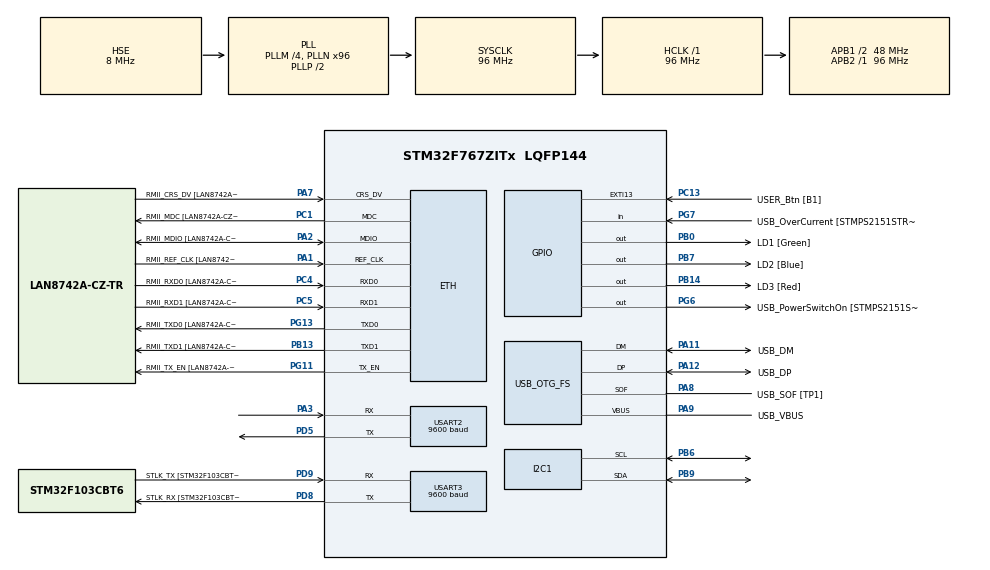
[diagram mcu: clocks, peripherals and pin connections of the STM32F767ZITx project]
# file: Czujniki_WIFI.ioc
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Dma.Request0=USART2_TX
Dma.USART2_TX.0.Direction=DMA_MEMORY_TO_PERIPH
Dma.USART2_TX.0.FIFOMode=DMA_FIFOMODE_DISABLE
Dma.USART2_TX.0.Instance=DMA1_Stream6
Dma.USART2_TX.0.MemDataAlignment=DMA_MDATAALIGN_BYTE
Dma.USART2_TX.0.MemInc=DMA_MINC_ENABLE
Dma.USART2_TX.0.Mode=DMA_NORMAL
Dma.USART2_TX.0.PeriphDataAlignment=DMA_PDATAALIGN_BYTE
Dma.USART2_TX.0.PeriphInc=DMA_PINC_DISABLE
Dma.USART2_TX.0.Priority=DMA_PRIORITY_LOW
ETH.MediaInterface=HAL_ETH_RMII_MODE
ETH.PHY_Name=LAN8742A_PHY_ADDRESS
ETH.PHY_Value=0
ETH.PhyAddress=0
FREERTOS.Queues01=TempQueue,165,uint32_t,0,Dynamic,NULL,NULL
FREERTOS.Tasks01=TempTask,24,256,StartTempTask,Default,NULL,Dynamic,NULL,NULL;UartTask,24,256,StartUartTask,Default,NULL,Dynamic,NULL,NULL
I2C1.Timing=0x20303E5D
IWDG.Prescaler=IWDG_PRESCALER_32
Mcu.Family=STM32F7
Mcu.Name=STM32F767ZITx
Mcu.Package=LQFP144
NVIC.DMA1_Stream6_IRQn=true\:5\:0\:false\:false\:true\:true\:false\:true\:true
NVIC.PriorityGroup=NVIC_PRIORITYGROUP_4
NVIC.TIM6_DAC_IRQn=true\:15\:0\:false\:false\:true\:false\:false\:true\:true
NVIC.TimeBase=TIM6_DAC_IRQn
NVIC.TimeBaseIP=TIM6
NVIC.USART2_IRQn=true\:5\:0\:false\:false\:true\:true\:true\:true\:true
PA1.GPIO_Label=RMII_REF_CLK [LAN8742A-CZ-TR_REFCLK0]
PA1.Mode=RMII
PA1.Signal=ETH_REF_CLK
PA10.GPIO_Label=USB_ID
PA10.Signal=USB_OTG_FS_ID
PA11.GPIO_Label=USB_DM
PA11.Mode=Device_Only
PA11.Signal=USB_OTG_FS_DM
PA12.GPIO_Label=USB_DP
PA12.Mode=Device_Only
PA12.Signal=USB_OTG_FS_DP
PA13.GPIO_Label=TMS
PA13.Mode=Serial_Wire
PA13.Signal=SYS_JTMS-SWDIO
PA14.GPIO_Label=TCK
PA14.Mode=Serial_Wire
PA14.Signal=SYS_JTCK-SWCLK
PA2.GPIO_Label=RMII_MDIO [LAN8742A-CZ-TR_MDIO]
PA2.Mode=RMII
PA2.Signal=ETH_MDIO
PA3.Mode=Asynchronous
PA3.Signal=USART2_RX
PA7.GPIO_Label=RMII_CRS_DV [LAN8742A-CZ-TR_CRS_DV]
PA7.Mode=RMII
PA7.Signal=ETH_CRS_DV
PA8.GPIO_Label=USB_SOF [TP1]
PA8.Mode=Activate_SOF_FS
PA8.Signal=USB_OTG_FS_SOF
PA9.GPIO_Label=USB_VBUS
PA9.Mode=Activate_VBUS
PA9.Signal=USB_OTG_FS_VBUS
PB0.GPIO_Label=LD1 [Green]
PB0.Signal=GPIO_Output
PB13.GPIO_Label=RMII_TXD1 [LAN8742A-CZ-TR_TXD1]
PB13.Mode=RMII
PB13.Signal=ETH_TXD1
PB14.GPIO_Label=LD3 [Red]
PB14.Signal=GPIO_Output
PB3.GPIO_Label=SWO
PB3.Signal=SYS_JTDO-SWO
PB6.Mode=I2C
PB6.Signal=I2C1_SCL
PB7.GPIO_Label=LD2 [Blue]
PB7.Signal=GPIO_Output
PB9.Mode=I2C
PB9.Signal=I2C1_SDA
PC1.GPIO_Label=RMII_MDC [LAN8742A-CZ-TR_MDC]
PC1.Mode=RMII
PC1.Signal=ETH_MDC
PC13.GPIO_Label=USER_Btn [B1]
PC13.Signal=GPXTI13
PC14/OSC32_IN.Mode=LSE-External-Oscillator
PC14/OSC32_IN.Signal=RCC_OSC32_IN
PC15/OSC32_OUT.Mode=LSE-External-Oscillator
PC15/OSC32_OUT.Signal=RCC_OSC32_OUT
PC4.GPIO_Label=RMII_RXD0 [LAN8742A-CZ-TR_RXD0]
PC4.Mode=RMII
PC4.Signal=ETH_RXD0
PC5.GPIO_Label=RMII_RXD1 [LAN8742A-CZ-TR_RXD1]
PC5.Mode=RMII
PC5.Signal=ETH_RXD1
PD5.Mode=Asynchronous
PD5.Signal=USART2_TX
PD8.GPIO_Label=STLK_RX [STM32F103CBT6_PA3]
PD8.Mode=Asynchronous
PD8.Signal=USART3_TX
PD9.GPIO_Label=STLK_TX [STM32F103CBT6_PA2]
PD9.Mode=Asynchronous
PD9.Signal=USART3_RX
PG11.GPIO_Label=RMII_TX_EN [LAN8742A-CZ-TR_TXEN]
PG11.Mode=RMII
PG11.Signal=ETH_TX_EN
PG13.GPIO_Label=RMII_TXD0 [LAN8742A-CZ-TR_TXD0]
PG13.Mode=RMII
PG13.Signal=ETH_TXD0
PG6.GPIO_Label=USB_PowerSwitchOn [STMPS2151STR_EN]
PG6.Signal=GPIO_Output
PG7.GPIO_Label=USB_OverCurrent [STMPS2151STR_FAULT]
PG7.Signal=GPIO_Input
PH0/OSC_IN.GPIO_Label=MCO [STM32F103CBT6_PA8]
PH0/OSC_IN.Mode=HSE-External-Clock-Source
PH0/OSC_IN.Signal=RCC_OSC_IN
PH1/OSC_OUT.Mode=HSE-External-Clock-Source
PH1/OSC_OUT.Signal=RCC_OSC_OUT
ProjectManager.HeapSize=0x200
ProjectManager.StackSize=0x400
ProjectManager.TargetToolchain=STM32CubeIDE
RCC.48MHZClocksFreq_Value=24000000
RCC.AHBFreq_Value=96000000
RCC.APB1CLKDivider=RCC_HCLK_DIV2
RCC.APB1Freq_Value=48000000
RCC.APB1TimFreq_Value=96000000
RCC.APB2Freq_Value=96000000
RCC.APB2TimFreq_Value=96000000
RCC.CortexFreq_Value=96000000
RCC.HCLKFreq_Value=96000000
RCC.HSE_VALUE=8000000
RCC.HSI_VALUE=16000000
RCC.PLLM=4
RCC.PLLMUL=RCC_PLL_MUL9
RCC.PLLN=96
RCC.PLLQ=4
RCC.PRESCALERUSB=RCC_USBCLKSOURCE_PLL_DIV1_5
RCC.SYSCLKFreq_VALUE=96000000
RCC.SYSCLKSource=RCC_SYSCLKSOURCE_PLLCLK
RCC.SYSCLKSourceVirtual=RCC_SYSCLKSOURCE_PLLCLK
RCC.USBFreq_Value=48000000
RCC.VCOOutputFreq_Value=192000000
USART2.BaudRate=9600
USART2.VirtualMode-Asynchronous=VM_ASYNC
USART3.BaudRate=9600
USART3.VirtualMode-Asynchronous=VM_ASYNC
USB_OTG_FS.VirtualMode=Device_Only
VP_FREERTOS_VS_CMSIS_V2.Mode=CMSIS_V2
VP_IWDG_VS_IWDG.Mode=IWDG_Activate
VP_SYS_VS_tim6.Mode=TIM6
board=NUCLEO-F767ZI

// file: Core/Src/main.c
/* USER CODE BEGIN Header */
/**
  ******************************************************************************
  * @file           : main.c
  * @brief          : Main program body
  ******************************************************************************
  * @attention
  *
  * Copyright (c) 2026 STMicroelectronics.
  * All rights reserved.
  *
  * This software is licensed under terms that can be found in the LICENSE file
  * in the root directory of this software component.
  * If no LICENSE file comes with this software, it is provided AS-IS.
  *
  ******************************************************************************
  */
/* USER CODE END Header */
#include "main.h"
#include "string.h"
#include "cmsis_os.h"

/* USER CODE BEGIN Includes */
#include "bmp280.h"
#include <stdio.h>
#include <string.h>
/* USER CODE END Includes */

#if defined ( __ICCARM__ ) /*!< IAR Compiler */
#pragma location=0x2007c000
ETH_DMADescTypeDef  DMARxDscrTab[ETH_RX_DESC_CNT]; /* Ethernet Rx DMA Descriptors */
#pragma location=0x2007c0a0
ETH_DMADescTypeDef  DMATxDscrTab[ETH_TX_DESC_CNT]; /* Ethernet Tx DMA Descriptors */

#elif defined ( __CC_ARM )  /* MDK ARM Compiler */

__attribute__((at(0x2007c000))) ETH_DMADescTypeDef  DMARxDscrTab[ETH_RX_DESC_CNT]; /* Ethernet Rx DMA Descriptors */
__attribute__((at(0x2007c0a0))) ETH_DMADescTypeDef  DMATxDscrTab[ETH_TX_DESC_CNT]; /* Ethernet Tx DMA Descriptors */

#elif defined ( __GNUC__ ) /* GNU Compiler */

ETH_DMADescTypeDef DMARxDscrTab[ETH_RX_DESC_CNT] __attribute__((section(".RxDecripSection"))); /* Ethernet Rx DMA Descriptors */
ETH_DMADescTypeDef DMATxDscrTab[ETH_TX_DESC_CNT] __attribute__((section(".TxDecripSection")));   /* Ethernet Tx DMA Descriptors */
#endif

ETH_TxPacketConfig TxConfig;

ETH_HandleTypeDef heth;

I2C_HandleTypeDef hi2c1;

IWDG_HandleTypeDef hiwdg;

UART_HandleTypeDef huart2;
UART_HandleTypeDef huart3;
DMA_HandleTypeDef hdma_usart2_tx;

PCD_HandleTypeDef hpcd_USB_OTG_FS;

/* Definitions for TempTask */
osThreadId_t TempTaskHandle;
const osThreadAttr_t TempTask_attributes = {
  .name = "TempTask",
  .stack_size = 256 * 4,
  .priority = (osPriority_t) osPriorityNormal,
};
/* Definitions for UartTask */
osThreadId_t UartTaskHandle;
const osThreadAttr_t UartTask_attributes = {
  .name = "UartTask",
  .stack_size = 256 * 4,
  .priority = (osPriority_t) osPriorityNormal,
};
/* Definitions for TempQueue */
osMessageQueueId_t TempQueueHandle;
const osMessageQueueAttr_t TempQueue_attributes = {
  .name = "TempQueue"
};
/* USER CODE BEGIN PV */
char uart_buf_dma[50];

/* USER CODE END PV */

void SystemClock_Config(void);
static void MX_GPIO_Init(void);
static void MX_DMA_Init(void);
static void MX_ETH_Init(void);
static void MX_USART3_UART_Init(void);
static void MX_USB_OTG_FS_PCD_Init(void);
static void MX_I2C1_Init(void);
static void MX_USART2_UART_Init(void);
static void MX_IWDG_Init(void);
void StartTempTask(void *argument);
void StartUartTask(void *argument);

int main(void)
{

  /* MCU Configuration--------------------------------------------------------*/

  /* Reset of all peripherals, Initializes the Flash interface and the Systick. */
  HAL_Init();

  /* Configure the system clock */
  SystemClock_Config();

  /* Initialize all configured peripherals */
  MX_GPIO_Init();
  MX_DMA_Init();
  MX_ETH_Init();
  MX_USART3_UART_Init();
  MX_USB_OTG_FS_PCD_Init();
  MX_I2C1_Init();
  MX_USART2_UART_Init();
  MX_IWDG_Init();
  /* USER CODE BEGIN 2 */
  BMP280_Init(&hi2c1);

  /* USER CODE END 2 */

  /* Init scheduler */
  osKernelInitialize();

  /* Create the queue(s) */
  /* creation of TempQueue */
  TempQueueHandle = osMessageQueueNew (165, sizeof(uint32_t), &TempQueue_attributes);

  /* Create the thread(s) */
  /* creation of TempTask */
  TempTaskHandle = osThreadNew(StartTempTask, NULL, &TempTask_attributes);

  /* creation of UartTask */
  UartTaskHandle = osThreadNew(StartUartTask, NULL, &UartTask_attributes);

  /* Start scheduler */
  osKernelStart();

  /* We should never get here as control is now taken by the scheduler */

  /* Infinite loop */
  while (1)
  {

  }
}

void SystemClock_Config(void)
{
  RCC_OscInitTypeDef RCC_OscInitStruct = {0};
  RCC_ClkInitTypeDef RCC_ClkInitStruct = {0};

  /** Configure LSE Drive Capability
  */
  HAL_PWR_EnableBkUpAccess();

  /** Configure the main internal regulator output voltage
  */
  __HAL_RCC_PWR_CLK_ENABLE();
  __HAL_PWR_VOLTAGESCALING_CONFIG(PWR_REGULATOR_VOLTAGE_SCALE3);

  /** Initializes the RCC Oscillators according to the specified parameters
  * in the RCC_OscInitTypeDef structure.
  */
  RCC_OscInitStruct.OscillatorType = RCC_OSCILLATORTYPE_LSI|RCC_OSCILLATORTYPE_HSE;
  RCC_OscInitStruct.HSEState = RCC_HSE_BYPASS;
  RCC_OscInitStruct.LSIState = RCC_LSI_ON;
  RCC_OscInitStruct.PLL.PLLState = RCC_PLL_ON;
  RCC_OscInitStruct.PLL.PLLSource = RCC_PLLSOURCE_HSE;
  RCC_OscInitStruct.PLL.PLLM = 4;
  RCC_OscInitStruct.PLL.PLLN = 96;
  RCC_OscInitStruct.PLL.PLLP = RCC_PLLP_DIV2;
  RCC_OscInitStruct.PLL.PLLQ = 4;
  RCC_OscInitStruct.PLL.PLLR = 2;
  if (HAL_RCC_OscConfig(&RCC_OscInitStruct) != HAL_OK)
  {
    Error_Handler();
  }

  /** Activate the Over-Drive mode
  */
  if (HAL_PWREx_EnableOverDrive() != HAL_OK)
  {
    Error_Handler();
  }

  /** Initializes the CPU, AHB and APB buses clocks
  */
  RCC_ClkInitStruct.ClockType = RCC_CLOCKTYPE_HCLK|RCC_CLOCKTYPE_SYSCLK
                              |RCC_CLOCKTYPE_PCLK1|RCC_CLOCKTYPE_PCLK2;
  RCC_ClkInitStruct.SYSCLKSource = RCC_SYSCLKSOURCE_PLLCLK;
  RCC_ClkInitStruct.AHBCLKDivider = RCC_SYSCLK_DIV1;
  RCC_ClkInitStruct.APB1CLKDivider = RCC_HCLK_DIV2;
  RCC_ClkInitStruct.APB2CLKDivider = RCC_HCLK_DIV1;

  if (HAL_RCC_ClockConfig(&RCC_ClkInitStruct, FLASH_LATENCY_3) != HAL_OK)
  {
    Error_Handler();
  }
}

static void MX_ETH_Init(void)
{

   static uint8_t MACAddr[6];

  heth.Instance = ETH;
  MACAddr[0] = 0x00;
  MACAddr[1] = 0x80;
  MACAddr[2] = 0xE1;
  MACAddr[3] = 0x00;
  MACAddr[4] = 0x00;
  MACAddr[5] = 0x00;
  heth.Init.MACAddr = &MACAddr[0];
  heth.Init.MediaInterface = HAL_ETH_RMII_MODE;
  heth.Init.TxDesc = DMATxDscrTab;
  heth.Init.RxDesc = DMARxDscrTab;
  heth.Init.RxBuffLen = 1524;

  if (HAL_ETH_Init(&heth) != HAL_OK)
  {
    Error_Handler();
  }

  memset(&TxConfig, 0 , sizeof(ETH_TxPacketConfig));
  TxConfig.Attributes = ETH_TX_PACKETS_FEATURES_CSUM | ETH_TX_PACKETS_FEATURES_CRCPAD;
  TxConfig.ChecksumCtrl = ETH_CHECKSUM_IPHDR_PAYLOAD_INSERT_PHDR_CALC;
  TxConfig.CRCPadCtrl = ETH_CRC_PAD_INSERT;

}

static void MX_I2C1_Init(void)
{

  hi2c1.Instance = I2C1;
  hi2c1.Init.Timing = 0x20303E5D;
  hi2c1.Init.OwnAddress1 = 0;
  hi2c1.Init.AddressingMode = I2C_ADDRESSINGMODE_7BIT;
  hi2c1.Init.DualAddressMode = I2C_DUALADDRESS_DISABLE;
  hi2c1.Init.OwnAddress2 = 0;
  hi2c1.Init.OwnAddress2Masks = I2C_OA2_NOMASK;
  hi2c1.Init.GeneralCallMode = I2C_GENERALCALL_DISABLE;
  hi2c1.Init.NoStretchMode = I2C_NOSTRETCH_DISABLE;
  if (HAL_I2C_Init(&hi2c1) != HAL_OK)
  {
    Error_Handler();
  }

  /** Configure Analogue filter
  */
  if (HAL_I2CEx_ConfigAnalogFilter(&hi2c1, I2C_ANALOGFILTER_ENABLE) != HAL_OK)
  {
    Error_Handler();
  }

  /** Configure Digital filter
  */
  if (HAL_I2CEx_ConfigDigitalFilter(&hi2c1, 0) != HAL_OK)
  {
    Error_Handler();
  }

}

static void MX_IWDG_Init(void)
{

  hiwdg.Instance = IWDG;
  hiwdg.Init.Prescaler = IWDG_PRESCALER_32;
  hiwdg.Init.Window = 4095;
  hiwdg.Init.Reload = 4095;
  if (HAL_IWDG_Init(&hiwdg) != HAL_OK)
  {
    Error_Handler();
  }

}

static void MX_USART2_UART_Init(void)
{

  huart2.Instance = USART2;
  huart2.Init.BaudRate = 9600;
  huart2.Init.WordLength = UART_WORDLENGTH_8B;
  huart2.Init.StopBits = UART_STOPBITS_1;
  huart2.Init.Parity = UART_PARITY_NONE;
  huart2.Init.Mode = UART_MODE_TX_RX;
  huart2.Init.HwFlowCtl = UART_HWCONTROL_NONE;
  huart2.Init.OverSampling = UART_OVERSAMPLING_16;
  huart2.Init.OneBitSampling = UART_ONE_BIT_SAMPLE_DISABLE;
  huart2.AdvancedInit.AdvFeatureInit = UART_ADVFEATURE_NO_INIT;
  if (HAL_UART_Init(&huart2) != HAL_OK)
  {
    Error_Handler();
  }

}

static void MX_USART3_UART_Init(void)
{

  huart3.Instance = USART3;
  huart3.Init.BaudRate = 9600;
  huart3.Init.WordLength = UART_WORDLENGTH_8B;
  huart3.Init.StopBits = UART_STOPBITS_1;
  huart3.Init.Parity = UART_PARITY_NONE;
  huart3.Init.Mode = UART_MODE_TX_RX;
  huart3.Init.HwFlowCtl = UART_HWCONTROL_NONE;
  huart3.Init.OverSampling = UART_OVERSAMPLING_16;
  huart3.Init.OneBitSampling = UART_ONE_BIT_SAMPLE_DISABLE;
  huart3.AdvancedInit.AdvFeatureInit = UART_ADVFEATURE_NO_INIT;
  if (HAL_UART_Init(&huart3) != HAL_OK)
  {
    Error_Handler();
  }

}

static void MX_USB_OTG_FS_PCD_Init(void)
{

  hpcd_USB_OTG_FS.Instance = USB_OTG_FS;
  hpcd_USB_OTG_FS.Init.dev_endpoints = 6;
  hpcd_USB_OTG_FS.Init.speed = PCD_SPEED_FULL;
  hpcd_USB_OTG_FS.Init.dma_enable = DISABLE;
  hpcd_USB_OTG_FS.Init.phy_itface = PCD_PHY_EMBEDDED;
  hpcd_USB_OTG_FS.Init.Sof_enable = ENABLE;
  hpcd_USB_OTG_FS.Init.low_power_enable = DISABLE;
  hpcd_USB_OTG_FS.Init.lpm_enable = DISABLE;
  hpcd_USB_OTG_FS.Init.vbus_sensing_enable = ENABLE;
  hpcd_USB_OTG_FS.Init.use_dedicated_ep1 = DISABLE;
  if (HAL_PCD_Init(&hpcd_USB_OTG_FS) != HAL_OK)
  {
    Error_Handler();
  }

}

static void MX_DMA_Init(void)
{

  /* DMA controller clock enable */
  __HAL_RCC_DMA1_CLK_ENABLE();

  /* DMA interrupt init */
  /* DMA1_Stream6_IRQn interrupt configuration */
  HAL_NVIC_SetPriority(DMA1_Stream6_IRQn, 5, 0);
  HAL_NVIC_EnableIRQ(DMA1_Stream6_IRQn);

}

static void MX_GPIO_Init(void)
{
  GPIO_InitTypeDef GPIO_InitStruct = {0};

  /* GPIO Ports Clock Enable */
  __HAL_RCC_GPIOC_CLK_ENABLE();
  __HAL_RCC_GPIOH_CLK_ENABLE();
  __HAL_RCC_GPIOA_CLK_ENABLE();
  __HAL_RCC_GPIOB_CLK_ENABLE();
  __HAL_RCC_GPIOD_CLK_ENABLE();
  __HAL_RCC_GPIOG_CLK_ENABLE();

  /*Configure GPIO pin Output Level */
  HAL_GPIO_WritePin(GPIOB, LD1_Pin|LD3_Pin|LD2_Pin, GPIO_PIN_RESET);

  /*Configure GPIO pin Output Level */
  HAL_GPIO_WritePin(USB_PowerSwitchOn_GPIO_Port, USB_PowerSwitchOn_Pin, GPIO_PIN_RESET);

  /*Configure GPIO pin : USER_Btn_Pin */
  GPIO_InitStruct.Pin = USER_Btn_Pin;
  GPIO_InitStruct.Mode = GPIO_MODE_IT_RISING;
  GPIO_InitStruct.Pull = GPIO_NOPULL;
  HAL_GPIO_Init(USER_Btn_GPIO_Port, &GPIO_InitStruct);

  /*Configure GPIO pins : LD1_Pin LD3_Pin LD2_Pin */
  GPIO_InitStruct.Pin = LD1_Pin|LD3_Pin|LD2_Pin;
  GPIO_InitStruct.Mode = GPIO_MODE_OUTPUT_PP;
  GPIO_InitStruct.Pull = GPIO_NOPULL;
  GPIO_InitStruct.Speed = GPIO_SPEED_FREQ_LOW;
  HAL_GPIO_Init(GPIOB, &GPIO_InitStruct);

  /*Configure GPIO pin : USB_PowerSwitchOn_Pin */
  GPIO_InitStruct.Pin = USB_PowerSwitchOn_Pin;
  GPIO_InitStruct.Mode = GPIO_MODE_OUTPUT_PP;
  GPIO_InitStruct.Pull = GPIO_NOPULL;
  GPIO_InitStruct.Speed = GPIO_SPEED_FREQ_LOW;
  HAL_GPIO_Init(USB_PowerSwitchOn_GPIO_Port, &GPIO_InitStruct);

  /*Configure GPIO pin : USB_OverCurrent_Pin */
  GPIO_InitStruct.Pin = USB_OverCurrent_Pin;
  GPIO_InitStruct.Mode = GPIO_MODE_INPUT;
  GPIO_InitStruct.Pull = GPIO_NOPULL;
  HAL_GPIO_Init(USB_OverCurrent_GPIO_Port, &GPIO_InitStruct);

}

void StartTempTask(void *argument)
{
  /* USER CODE BEGIN 5 */
  /* Infinite loop */
  for(;;)
  {
	float aktualna_temperatura = BMP280_ReadTemperature(&hi2c1);
	osMessageQueuePut(TempQueueHandle, &aktualna_temperatura, 0, osWaitForever);

	HAL_IWDG_Refresh(&hiwdg);
    osDelay(3000);
  }
  /* USER CODE END 5 */
}

void StartUartTask(void *argument)
{
  /* USER CODE BEGIN StartUartTask */
	float odebrana_temperatura = 0.0f;

  /* Infinite loop */
  for(;;)
  {
	if(osMessageQueueGet(TempQueueHandle, &odebrana_temperatura, NULL, osWaitForever) == osOK)
	{

		snprintf(uart_buf_dma, sizeof(uart_buf_dma), "{\"temperature\": %.2f}\n", odebrana_temperatura);
		HAL_UART_Transmit_DMA(&huart2, (uint8_t*)uart_buf_dma, strlen(uart_buf_dma));
		HAL_UART_Transmit(&huart3, (uint8_t*)uart_buf_dma, strlen(uart_buf_dma), 100);
		HAL_GPIO_TogglePin(LD1_GPIO_Port, LD1_Pin);
	}
  }
  /* USER CODE END StartUartTask */
}

void HAL_TIM_PeriodElapsedCallback(TIM_HandleTypeDef *htim)
{
  if (htim->Instance == TIM6)
  {
    HAL_IncTick();
  }
}

void Error_Handler(void)
{
  __disable_irq();
  while (1)
  {
  }
}
